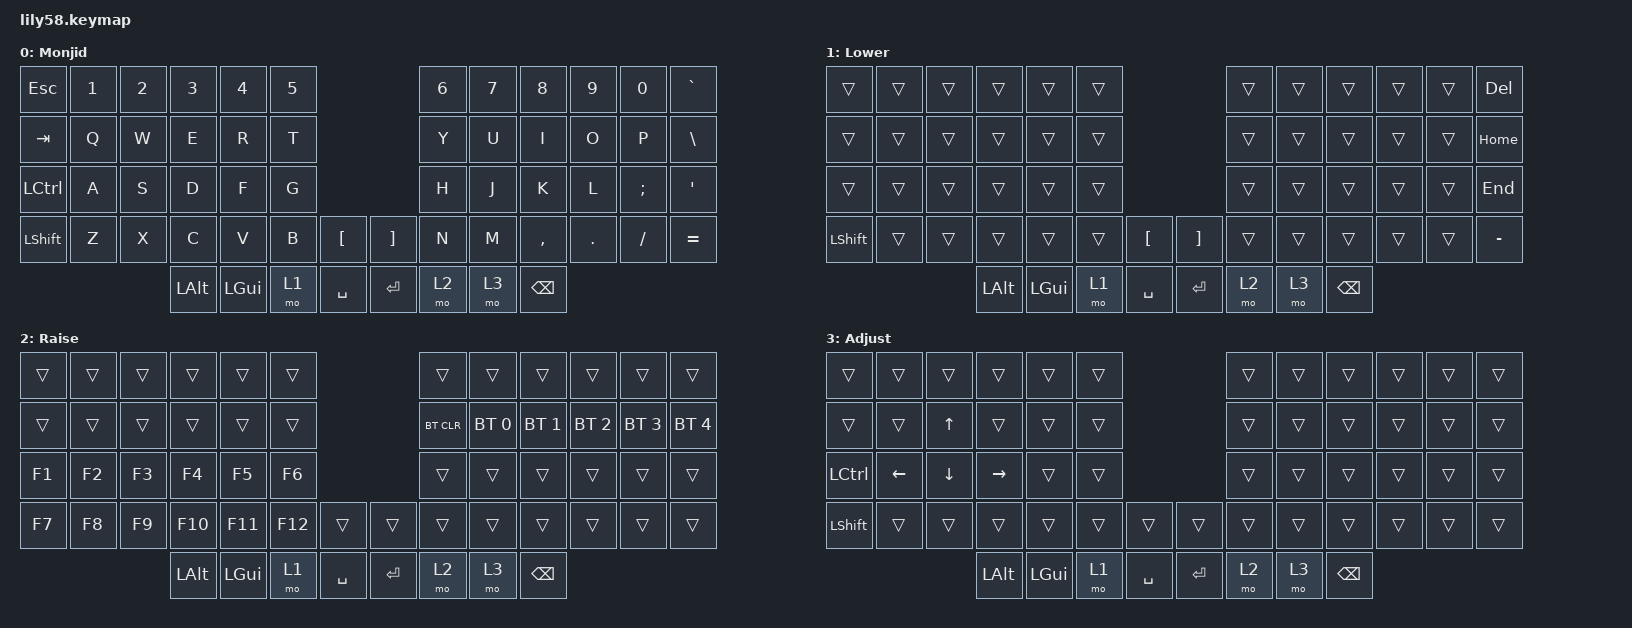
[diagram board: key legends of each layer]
/*
 * Copyright (c) 2020 The ZMK Contributors
 *
 * SPDX-License-Identifier: MIT
 */

#include <behaviors.dtsi>
#include <dt-bindings/zmk/bt.h>
#include <dt-bindings/zmk/keys.h>

/ {
    keymap {
        compatible = "zmk,keymap";

        default_layer {
            // ------------------------------------------------------------------------------------------------------------
            // |  ESC  |  1  |  2  |  3   |  4   |  5   |                   |  6   |  7    |  8    |  9   |   0   |   `   |
            // |  TAB  |  Q  |  W  |  E   |  R   |  T   |                   |  Y   |  U    |  I    |  O   |   P   |   \   |
            // |  CTRL |  A  |  S  |  D   |  F   |  G   |                   |  H   |  J    |  K    |  L   |   ;   |   '   |
            // | SHIFT |  Z  |  X  |  C   |  V   |  B   |   "["  |  |  "]"  |  N   |  M    |  ,    |  .   |   /   |   =   |
            //                     | ALT  | GUI  | LOWER|  SPACE |  | ENTER | RAISE| ADJ   | BSPC  |

            label = "Monjid";
            bindings = <
&kp ESC    &kp N1  &kp N2  &kp N3    &kp N4    &kp N5                         &kp N6  &kp N7  &kp N8         &kp N9   &kp N0    &kp GRAVE
&kp TAB    &kp Q   &kp W   &kp E     &kp R     &kp T                          &kp Y   &kp U   &kp I          &kp O    &kp P     &kp BACKSLASH
&kp LCTRL  &kp A   &kp S   &kp D     &kp F     &kp G                          &kp H   &kp J   &kp K          &kp L    &kp SEMI  &kp SQT
&kp LSHFT  &kp Z   &kp X   &kp C     &kp V     &kp B   &kp LBKT     &kp RBKT  &kp N   &kp M   &kp COMMA      &kp DOT  &kp FSLH  &kp EQUAL
                           &kp LALT  &kp LGUI  &mo 1   &kp SPACE    &kp RET   &mo 2   &mo 3   &kp BACKSPACE
            >;
        };

        lower_layer {
            // ------------------------------------------------------------------------------------------------------------
            // |       |     |     |      |      |      |                   |      |       |       |      |       |  DEL  |
            // |       |     |     |      |      |      |                   |      |       |       |      |       |  HOME |
            // |       |     |     |      |      |      |                   |      |       |       |      |       |  END  |
            // | SHIFT |     |     |      |      |      |   "["  |  |  "]"  |      |       |       |      |       |   -   |
            //                     | ALT  | GUI  | LOWER|  SPACE |  | ENTER | RAISE| ADJ   | BSPC  |

            label = "Lower";
            bindings = <
&trans      &trans  &trans  &trans    &trans    &trans                                         &trans  &trans  &trans         &trans  &trans  &kp DEL
&trans      &trans  &trans  &trans    &trans    &trans                                         &trans  &trans  &trans         &trans  &trans  &kp HOME
&trans      &trans  &trans  &trans    &trans    &trans                                         &trans  &trans  &trans         &trans  &trans  &kp END
&kp LSHIFT  &trans  &trans  &trans    &trans    &trans  &kp LEFT_BRACKET    &kp RIGHT_BRACKET  &trans  &trans  &trans         &trans  &trans  &kp MINUS
                            &kp LALT  &kp LGUI  &mo 1   &kp SPACE           &kp ENTER          &mo 2   &mo 3   &kp BACKSPACE
            >;
        };

        raise_layer {
            // ------------------------------------------------------------------------------------------------------------
            // |       |     |     |      |      |      |                   |      |       |       |      |       |       |
            // |       |     |     |      |      |      |                   |      |       |       |      |       |       |
            // |   F1  |  F2 |  F3 |  F4  |  F5  |  F6  |                   |      |       |       |      |       |       |
            // |   F7  |  F8 |  F9 |  F10 |  F11 |  F12 |        |  |       |      |       |       |      |       |       |
            //                     |  ALT | GUI  | LOWER|  SPACE |  | ENTER | RAISE| ADJ   | BSPC  |

            label = "Raise";
            bindings = <
&trans  &trans  &trans  &trans    &trans    &trans                           &trans      &trans        &trans         &trans        &trans        &trans
&trans  &trans  &trans  &trans    &trans    &trans                           &bt BT_CLR  &bt BT_SEL 0  &bt BT_SEL 1   &bt BT_SEL 2  &bt BT_SEL 3  &bt BT_SEL 4
&kp F1  &kp F2  &kp F3  &kp F4    &kp F5    &kp F6                           &trans      &trans        &trans         &trans        &trans        &trans
&kp F7  &kp F8  &kp F9  &kp F10   &kp F11   &kp F12  &trans       &trans     &trans      &trans        &trans         &trans        &trans        &trans
                        &kp LALT  &kp LGUI  &mo 1    &kp SPACE    &kp ENTER  &mo 2       &mo 3         &kp BACKSPACE
            >;
        };

        adjust_layer {
            // ------------------------------------------------------------------------------------------------------------
            // |       |     |     |      |      |      |                   |      |       |       |      |       |       |
            // |       |     |  UP |      |      |      |                   |      |       |       |      |       |       |
            // | CTRL  | LEFT| DOWN| RIGHT|      |      |                   |      |       |       |      |       |       |
            // | SHIFT |     |     |      |      |      |        |  |       |      |       |       |      |       |       |
            //                     |  ALT | GUI  | LOWER|  SPACE |  | ENTER | RAISE| ADJ   | BSPC  |

            label = "Adjust";
            bindings = <
&trans     &trans          &trans          &trans           &trans    &trans                          &trans  &trans  &trans         &trans  &trans  &trans
&trans     &trans          &kp UP_ARROW    &trans           &trans    &trans                          &trans  &trans  &trans         &trans  &trans  &trans
&kp LCTRL  &kp LEFT_ARROW  &kp DOWN_ARROW  &kp RIGHT_ARROW  &trans    &trans                          &trans  &trans  &trans         &trans  &trans  &trans
&kp LSHFT  &trans          &trans          &trans           &trans    &trans  &trans       &trans     &trans  &trans  &trans         &trans  &trans  &trans
                                           &kp LALT         &kp LGUI  &mo 1   &kp SPACE    &kp ENTER  &mo 2   &mo 3   &kp BACKSPACE
            >;
        };
    };
};
